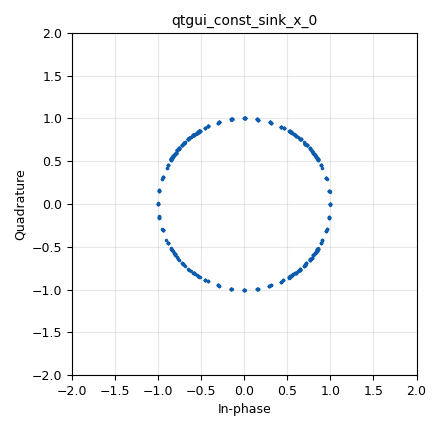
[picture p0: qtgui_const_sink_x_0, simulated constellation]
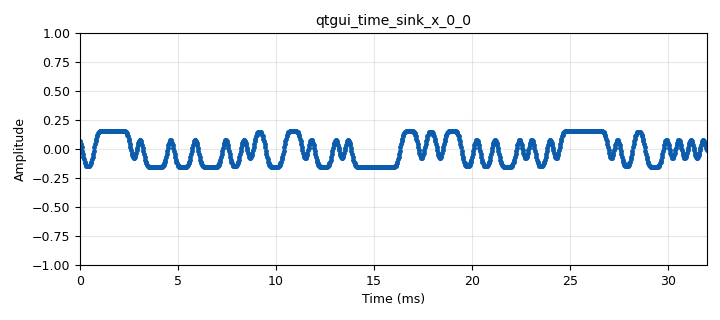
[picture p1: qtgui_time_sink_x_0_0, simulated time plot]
options:
  parameters:
    author: mettus
    category: Custom
    generate_options: qt_gui
    id: demo_gmsk
    output_language: python
  states: {}

blocks:
- name: beta
  id: variable_qtgui_range
  parameters:
    gui_hint: 3,0,1,1
    label: k3 (IP3)
    orient: Qt.Horizontal
    start: '-.1'
    step: '0.001'
    stop: '0'
    value: '0'
  states: {}
- name: const_size
  id: variable
  parameters:
    value: '4'
  states: {}
- name: freq_offset
  id: variable_qtgui_range
  parameters:
    gui_hint: 0,1,1,1
    label: Frequency Offset
    orient: Qt.Horizontal
    start: '-0.5'
    step: '0.001'
    stop: '0.5'
    value: '0'
  states: {}
- name: i_ofs
  id: variable_qtgui_range
  parameters:
    gui_hint: 2,0,1,1
    label: I offset
    orient: Qt.Horizontal
    start: '-1'
    step: '0.001'
    stop: '1'
    value: '0'
  states: {}
- name: magbal
  id: variable_qtgui_range
  parameters:
    gui_hint: 1,0,1,1
    label: IQ Magnitude Imbalance
    orient: Qt.Horizontal
    start: '0'
    step: '0.1'
    stop: '10'
    value: '0'
  states: {}
- name: phase_noise_mag
  id: variable_qtgui_range
  parameters:
    gui_hint: 0, 0, 1,1
    label: Phase Noise Mag (dB)
    orient: Qt.Horizontal
    start: '-100'
    step: '1'
    stop: '0'
    value: '-100'
  states: {}
- name: phasebal
  id: variable_qtgui_range
  parameters:
    gui_hint: 1,1,1,1
    label: IQ Phase Imbalance
    orient: Qt.Horizontal
    start: '0'
    step: '0.1'
    stop: '45'
    value: '0'
  states: {}
- name: q_ofs
  id: variable_qtgui_range
  parameters:
    gui_hint: 2,1,1,1
    label: Q offset
    orient: Qt.Horizontal
    start: '-1'
    step: '0.001'
    stop: '1'
    value: '0'
  states: {}
- name: samp_rate
  id: variable
  parameters:
    value: '32000'
  states: {}
- name: analog_quadrature_demod_cf_0
  id: analog_quadrature_demod_cf
  parameters:
    gain: '1.0'
  states: {}
- name: analog_random_source_x_0
  id: analog_random_source_x
  parameters:
    max: '256'
    min: '0'
    num_samps: '100000'
    repeat: 'True'
    type: byte
  states: {}
- name: blocks_file_sink_0
  id: blocks_file_sink
  parameters:
    file: '"/home/ais/itais/persistent/gmsk_mod.txt"'
    type: complex
  states: {}
- name: blocks_throttle_0
  id: blocks_throttle
  parameters:
    samples_per_second: samp_rate
    type: complex
  states: {}
- name: channels_impairments_0
  id: channels_impairments
  parameters:
    beta: beta
    freq_offset: freq_offset
    gamma: '0'
    i_ofs: i_ofs
    magbal: magbal
    phase_noise_mag: phase_noise_mag
    phasebal: phasebal
    q_ofs: q_ofs
  states: {state: bypassed}
- name: digital_gmsk_mod_0
  id: digital_gmsk_mod
  parameters:
    bt: '0.3'
    log: 'True'
    samples_per_symbol: '10'
    verbose: 'True'
  states: {}
- name: import_0
  id: import
  parameters:
    imports: import math
  states: {}
- name: qtgui_const_sink_x_0
  id: qtgui_const_sink_x
  parameters:
    gui_hint: 4,0,1,1
    name: ''
    size: '1024'
    type: complex
  states: {}
- name: qtgui_time_sink_x_0_0
  id: qtgui_time_sink_x
  parameters:
    gui_hint: 4,1,1,1
    marker1: '1'
    name: ''
    size: '1024'
    srate: samp_rate
    type: float
  states: {}

connections:
- [analog_quadrature_demod_cf_0, '0', qtgui_time_sink_x_0_0, '0']
- [analog_random_source_x_0, '0', digital_gmsk_mod_0, '0']
- [blocks_throttle_0, '0', channels_impairments_0, '0']
- [channels_impairments_0, '0', analog_quadrature_demod_cf_0, '0']
- [channels_impairments_0, '0', blocks_file_sink_0, '0']
- [channels_impairments_0, '0', qtgui_const_sink_x_0, '0']
- [digital_gmsk_mod_0, '0', blocks_throttle_0, '0']

metadata:
  file_format: 1
